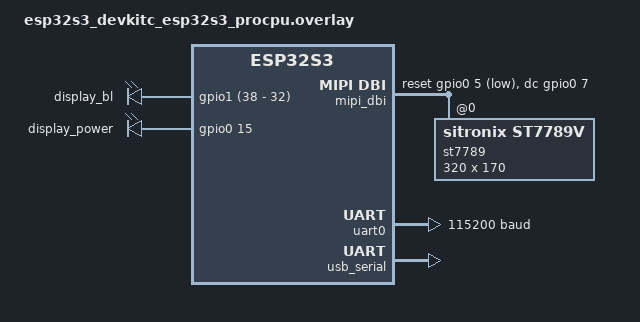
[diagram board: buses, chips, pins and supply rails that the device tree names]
#include <zephyr/dt-bindings/mipi_dbi/mipi_dbi.h>
#include <zephyr/dt-bindings/pinctrl/esp32s3-pinctrl.h>

/ {
    aliases
	{
        display-ctrl = &st7789;
    };

    leds
	{
        compatible = "gpio-leds";
        display_bl: display_bl_node
		{
            gpios = <&gpio1 (38 - 32) GPIO_ACTIVE_HIGH>;
        };
        display_power: display_power_node //not used when using supplying power via USB
		{
            gpios = <&gpio0 15 GPIO_ACTIVE_HIGH>;
        };
    };

    mipi_dbi
	{
        compatible = "zephyr,mipi-dbi-bitbang";
        reset-gpios = <&gpio0 5 GPIO_ACTIVE_LOW>;
        dc-gpios = <&gpio0 7 GPIO_ACTIVE_HIGH>;
        wr-gpios = <&gpio0 8 GPIO_ACTIVE_HIGH>;
        rd-gpios = <&gpio0 9 GPIO_ACTIVE_HIGH>;
        cs-gpios = <&gpio0 6 GPIO_ACTIVE_LOW>;

        data-gpios = <&gpio1 (39 - 32) GPIO_ACTIVE_HIGH>,
                     <&gpio1 (40 - 32) GPIO_ACTIVE_HIGH>,
                     <&gpio1 (41 - 32) GPIO_ACTIVE_HIGH>,
                     <&gpio1 (42 - 32) GPIO_ACTIVE_HIGH>,
                     <&gpio1 (45 - 32) GPIO_ACTIVE_HIGH>,
                     <&gpio1 (46 - 32) GPIO_ACTIVE_HIGH>,
                     <&gpio1 (47 - 32) GPIO_ACTIVE_HIGH>,
                     <&gpio1 (48 - 32) GPIO_ACTIVE_HIGH>;

        #address-cells = <1>;
        #size-cells = <0>;

        st7789: st7789@0
		{
            compatible = "sitronix,st7789v";
            reg = <0>;
            mipi-max-frequency = <0>; //not used with bitbanging
            mipi-mode = "MIPI_DBI_MODE_8080_BUS_8_BIT";

            // height = <135>;
            // width = <240>;
			// x-offset = <40>;
			// y-offset = <52>;

            height = <170>;
            width = <320>;
			x-offset = <0>;
			y-offset = <35>;
            mdac = <0xa0>;

            vcom = <0x19>;
            gctrl = <0x35>;
            vrhs = <0x12>;
            vdvs = <0x20>;
            gamma = <0x01>;
            colmod = <0x55>;
            lcm = <0x2c>;
            porch-param = [ 0c 0c 00 33 33 ];
            cmd2en-param = [ 5a 69 02 01 ];
            pwctrl1-param = [ a4 a1 ];
            pvgam-param = [ D0 04 0D 11 13 2B 3F 54 4C 18 0D 0B 1F 23 ];
            nvgam-param = [ D0 04 0C 11 13 2C 3F 44 51 2F 1F 1F 20 23 ];
            ram-param = [ 00 F8 ];
            rgb-param = [ CD 08 14 ];
        };
    };
};

/delete-node/ &slot0_appcpu_partition;
/delete-node/ &slot1_partition;
/delete-node/ &slot1_appcpu_partition;
/delete-node/ &slot0_lpcore_partition;
/delete-node/ &slot1_lpcore_partition;
/delete-node/ &storage_partition;
/delete-node/ &scratch_partition;
/delete-node/ &coredump_partition;

&flash0
{
    reg = <0x0 DT_SIZE_M(16)>; // Address, size (16MB)

    partitions {
        slot0_partition: partition@20000
		{
            label = "image-0";
            reg = <0x20000 DT_SIZE_K(512)>;
            read-only;
        };
        game_settings_partition: partition@a0000
		{
            label = "game-settings-partition";
            reg = <0xa0000 0x1000>;
        };
        game_saves_partition: partition@a1000
		{
            label = "game-saves-partition";
            reg = <0xa1000 0x1000>;
        };
        cache_partition: partition@a2000
		{
            label = "cache-partition";
            reg = <0xa2000 (0x22b000 - 0xa2000)>;
        };
        wad_partition: partition@22b000
		{
            label = "wad-partition";
            reg = <0x22b000 (DT_SIZE_M(16) - 0x22b000)>;
            read-only;
        };
    };
};

&uart0
{
    status = "okay";
    current-speed = <115200>;
};

&usb_serial
{
	status = "okay";
};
